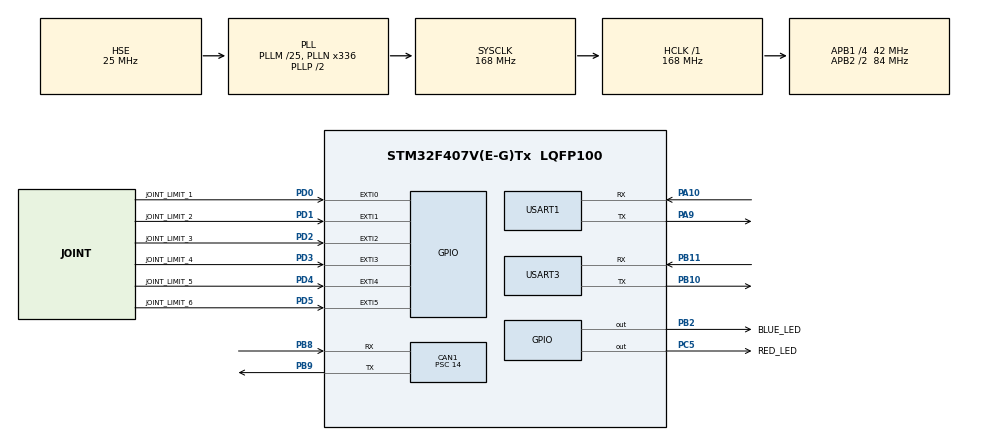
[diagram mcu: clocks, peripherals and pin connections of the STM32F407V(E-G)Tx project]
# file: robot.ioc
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CAN1.ABOM=DISABLE
CAN1.AWUM=ENABLE
CAN1.BS1=CAN_BS1_4TQ
CAN1.BS2=CAN_BS2_1TQ
CAN1.CalculateBaudRate=499999
CAN1.CalculateTimeBit=2000
CAN1.CalculateTimeQuantum=333.33333333333337
CAN1.Mode=CAN_MODE_NORMAL
CAN1.Prescaler=14
Dma.Request0=USART3_RX
Dma.USART3_RX.0.Direction=DMA_PERIPH_TO_MEMORY
Dma.USART3_RX.0.FIFOMode=DMA_FIFOMODE_DISABLE
Dma.USART3_RX.0.Instance=DMA1_Stream1
Dma.USART3_RX.0.MemDataAlignment=DMA_MDATAALIGN_BYTE
Dma.USART3_RX.0.MemInc=DMA_MINC_ENABLE
Dma.USART3_RX.0.Mode=DMA_CIRCULAR
Dma.USART3_RX.0.PeriphDataAlignment=DMA_PDATAALIGN_BYTE
Dma.USART3_RX.0.PeriphInc=DMA_PINC_DISABLE
Dma.USART3_RX.0.Priority=DMA_PRIORITY_HIGH
FREERTOS.Tasks01=defaultTask,24,128,StartDefaultTask,Default,NULL,Dynamic,NULL,NULL
FREERTOS.configENABLE_FPU=1
FREERTOS.configUSE_NEWLIB_REENTRANT=1
Mcu.Family=STM32F4
Mcu.Name=STM32F407V(E-G)Tx
Mcu.Package=LQFP100
NVIC.CAN1_RX0_IRQn=true\:6\:0\:true\:false\:true\:true\:true\:true\:true
NVIC.DMA1_Stream1_IRQn=true\:5\:0\:false\:false\:true\:true\:false\:true\:true
NVIC.EXTI0_IRQn=true\:5\:0\:true\:false\:true\:true\:true\:true\:true
NVIC.EXTI1_IRQn=true\:5\:0\:false\:false\:true\:true\:true\:true\:true
NVIC.EXTI2_IRQn=true\:5\:0\:false\:false\:true\:true\:true\:true\:true
NVIC.EXTI3_IRQn=true\:5\:0\:false\:false\:true\:true\:true\:true\:true
NVIC.EXTI4_IRQn=true\:5\:0\:false\:false\:true\:true\:true\:true\:true
NVIC.EXTI9_5_IRQn=true\:5\:0\:false\:false\:true\:true\:true\:true\:true
NVIC.PriorityGroup=NVIC_PRIORITYGROUP_4
NVIC.TIM6_DAC_IRQn=true\:15\:0\:false\:false\:true\:false\:false\:true\:true
NVIC.TimeBase=TIM6_DAC_IRQn
NVIC.TimeBaseIP=TIM6
NVIC.USART1_IRQn=true\:6\:0\:true\:false\:true\:true\:true\:true\:true
NVIC.USART3_IRQn=true\:6\:0\:true\:false\:true\:true\:true\:true\:true
PA10.Mode=Asynchronous
PA10.Signal=USART1_RX
PA13.Mode=Serial_Wire
PA13.Signal=SYS_JTMS-SWDIO
PA14.Mode=Serial_Wire
PA14.Signal=SYS_JTCK-SWCLK
PA9.Mode=Asynchronous
PA9.Signal=USART1_TX
PB10.Mode=Asynchronous
PB10.Signal=USART3_TX
PB11.Mode=Asynchronous
PB11.Signal=USART3_RX
PB2.GPIO_Label=BLUE_LED
PB2.PinState=GPIO_PIN_RESET
PB2.Signal=GPIO_Output
PB8.Mode=CAN_Activate
PB8.Signal=CAN1_RX
PB9.Mode=CAN_Activate
PB9.Signal=CAN1_TX
PC5.GPIO_Label=RED_LED
PC5.PinState=GPIO_PIN_RESET
PC5.Signal=GPIO_Output
PD0.GPIO_Label=JOINT_LIMIT_1
PD0.GPIO_ModeDefaultEXTI=GPIO_MODE_IT_RISING_FALLING
PD0.GPIO_PuPd=GPIO_PULLUP
PD0.Signal=GPXTI0
PD1.GPIO_Label=JOINT_LIMIT_2
PD1.GPIO_ModeDefaultEXTI=GPIO_MODE_IT_RISING_FALLING
PD1.GPIO_PuPd=GPIO_PULLUP
PD1.Signal=GPXTI1
PD2.GPIO_Label=JOINT_LIMIT_3
PD2.GPIO_ModeDefaultEXTI=GPIO_MODE_IT_RISING_FALLING
PD2.GPIO_PuPd=GPIO_PULLUP
PD2.Signal=GPXTI2
PD3.GPIO_Label=JOINT_LIMIT_4
PD3.GPIO_ModeDefaultEXTI=GPIO_MODE_IT_RISING_FALLING
PD3.GPIO_PuPd=GPIO_PULLUP
PD3.Signal=GPXTI3
PD4.GPIO_Label=JOINT_LIMIT_5
PD4.GPIO_ModeDefaultEXTI=GPIO_MODE_IT_RISING_FALLING
PD4.GPIO_PuPd=GPIO_PULLUP
PD4.Signal=GPXTI4
PD5.GPIO_Label=JOINT_LIMIT_6
PD5.GPIO_ModeDefaultEXTI=GPIO_MODE_IT_RISING_FALLING
PD5.GPIO_PuPd=GPIO_PULLUP
PD5.Signal=GPXTI5
PH0-OSC_IN.Mode=HSE-External-Oscillator
PH0-OSC_IN.Signal=RCC_OSC_IN
PH1-OSC_OUT.Mode=HSE-External-Oscillator
PH1-OSC_OUT.Signal=RCC_OSC_OUT
ProjectManager.HeapSize=0x200
ProjectManager.StackSize=0x400
ProjectManager.TargetToolchain=STM32CubeIDE
RCC.48MHZClocksFreq_Value=48000000
RCC.AHBFreq_Value=168000000
RCC.APB1CLKDivider=RCC_HCLK_DIV4
RCC.APB1Freq_Value=42000000
RCC.APB1TimFreq_Value=84000000
RCC.APB2CLKDivider=RCC_HCLK_DIV2
RCC.APB2Freq_Value=84000000
RCC.APB2TimFreq_Value=168000000
RCC.CortexFreq_Value=168000000
RCC.HCLKFreq_Value=168000000
RCC.HSE_VALUE=25000000
RCC.HSI_VALUE=16000000
RCC.LSE_VALUE=32768
RCC.PLLM=25
RCC.PLLN=336
RCC.PLLQ=7
RCC.PLLSourceVirtual=RCC_PLLSOURCE_HSE
RCC.SYSCLKFreq_VALUE=168000000
RCC.SYSCLKSource=RCC_SYSCLKSOURCE_PLLCLK
RCC.VCOOutputFreq_Value=336000000
USART1.VirtualMode=VM_ASYNC
USART3.VirtualMode=VM_ASYNC
VP_FREERTOS_VS_CMSIS_V2.Mode=CMSIS_V2
VP_RNG_VS_RNG.Mode=RNG_Activate
VP_SYS_VS_tim6.Mode=TIM6
board=custom

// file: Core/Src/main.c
/* USER CODE BEGIN Header */
/**
  ******************************************************************************
  * @file           : main.c
  * @brief          : Main program body
  ******************************************************************************
  * @attention
  *
  * Copyright (c) 2025 STMicroelectronics.
  * All rights reserved.
  *
  * This software is licensed under terms that can be found in the LICENSE file
  * in the root directory of this software component.
  * If no LICENSE file comes with this software, it is provided AS-IS.
  *
  ******************************************************************************
  */
/* USER CODE END Header */
#include "main.h"
#include "cmsis_os.h"
#include "can.h"
#include "dma.h"
#include "rng.h"
#include "usart.h"
#include "gpio.h"

/* USER CODE BEGIN Includes */
#include "stdio.h"
#include "esp8266_mqtt.h"
#include "motor_test.h"  // 测试电机
/* USER CODE END Includes */

void SystemClock_Config(void);
void MX_FREERTOS_Init(void);

int main(void)
{

  /* MCU Configuration--------------------------------------------------------*/

  /* Reset of all peripherals, Initializes the Flash interface and the Systick. */
  HAL_Init();

  /* Configure the system clock */
  SystemClock_Config();

  /* Initialize all configured peripherals */
  MX_GPIO_Init();
  MX_DMA_Init();
  MX_CAN1_Init();
  MX_RNG_Init();
  MX_USART1_UART_Init();
  MX_USART3_UART_Init();
  /* USER CODE BEGIN 2 */
  USER_CAN1_Filter_Init();

  if(HAL_CAN_Start(&hcan1) != HAL_OK) { // 启动CAN控制器
	  Error_Handler();
  }

  if(HAL_CAN_ActivateNotification(&hcan1, CAN_IT_RX_FIFO0_MSG_PENDING) != HAL_OK) { // 使能CAN控制器接收中断
	  Error_Handler();
  }

// ========== 电机测试代码开始 ==========
  char buf[100];

  HAL_UART_Transmit(&huart1, (uint8_t*)"\r\n\r\n", 4, HAL_MAX_DELAY);
  HAL_UART_Transmit(&huart1, (uint8_t*)"========================================\r\n", 42, HAL_MAX_DELAY);
  HAL_UART_Transmit(&huart1, (uint8_t*)"  Motor & Driver Connection Test Start  \r\n", 44, HAL_MAX_DELAY);
  HAL_UART_Transmit(&huart1, (uint8_t*)"========================================\r\n", 42, HAL_MAX_DELAY);

  // 延时，等待系统稳定
  HAL_Delay(500);

  // 测试电机地址1
  uint8_t test_motor_addr = 1;

  sprintf(buf, "\r\nPreparing to test 中文测试motor address: %d\r\n", test_motor_addr);
  HAL_UART_Transmit(&huart1, (uint8_t*)buf, strlen(buf), HAL_MAX_DELAY);
  HAL_Delay(100);

  // 执行完整测试
  int result = Motor_Test_Complete(test_motor_addr);

  if (result == 0) {
      sprintf(buf, "\r\n[PASS] Motor %d - All tests passed!\r\n", test_motor_addr);
      HAL_UART_Transmit(&huart1, (uint8_t*)buf, strlen(buf), HAL_MAX_DELAY);
  } else {
      sprintf(buf, "\r\n[FAIL] Motor %d - %d test(s) failed\r\n", test_motor_addr, result);
      HAL_UART_Transmit(&huart1, (uint8_t*)buf, strlen(buf), HAL_MAX_DELAY);
  }

  HAL_UART_Transmit(&huart1, (uint8_t*)"\r\n========================================\r\n", 44, HAL_MAX_DELAY);
  HAL_UART_Transmit(&huart1, (uint8_t*)"  Test Done, Starting FreeRTOS Scheduler \r\n", 45, HAL_MAX_DELAY);
  HAL_UART_Transmit(&huart1, (uint8_t*)"========================================\r\n\r\n", 46, HAL_MAX_DELAY);

  HAL_Delay(500);
  // ========== 电机测试代码结束 ==========

  /* USER CODE END 2 */

  /* Init scheduler */
  osKernelInitialize();

  /* Call init function for freertos objects (in cmsis_os2.c) */
  MX_FREERTOS_Init();

  /* Start scheduler */
  osKernelStart();

  /* We should never get here as control is now taken by the scheduler */

  /* Infinite loop */
  while (1)
  {
  }
}

void SystemClock_Config(void)
{
  RCC_OscInitTypeDef RCC_OscInitStruct = {0};
  RCC_ClkInitTypeDef RCC_ClkInitStruct = {0};

  /** Configure the main internal regulator output voltage
  */
  __HAL_RCC_PWR_CLK_ENABLE();
  __HAL_PWR_VOLTAGESCALING_CONFIG(PWR_REGULATOR_VOLTAGE_SCALE1);

  /** Initializes the RCC Oscillators according to the specified parameters
  * in the RCC_OscInitTypeDef structure.
  */
  RCC_OscInitStruct.OscillatorType = RCC_OSCILLATORTYPE_HSE;
  RCC_OscInitStruct.HSEState = RCC_HSE_ON;
  RCC_OscInitStruct.PLL.PLLState = RCC_PLL_ON;
  RCC_OscInitStruct.PLL.PLLSource = RCC_PLLSOURCE_HSE;
  RCC_OscInitStruct.PLL.PLLM = 25;
  RCC_OscInitStruct.PLL.PLLN = 336;
  RCC_OscInitStruct.PLL.PLLP = RCC_PLLP_DIV2;
  RCC_OscInitStruct.PLL.PLLQ = 7;
  if (HAL_RCC_OscConfig(&RCC_OscInitStruct) != HAL_OK)
  {
    Error_Handler();
  }

  /** Initializes the CPU, AHB and APB buses clocks
  */
  RCC_ClkInitStruct.ClockType = RCC_CLOCKTYPE_HCLK|RCC_CLOCKTYPE_SYSCLK
                              |RCC_CLOCKTYPE_PCLK1|RCC_CLOCKTYPE_PCLK2;
  RCC_ClkInitStruct.SYSCLKSource = RCC_SYSCLKSOURCE_PLLCLK;
  RCC_ClkInitStruct.AHBCLKDivider = RCC_SYSCLK_DIV1;
  RCC_ClkInitStruct.APB1CLKDivider = RCC_HCLK_DIV4;
  RCC_ClkInitStruct.APB2CLKDivider = RCC_HCLK_DIV2;

  if (HAL_RCC_ClockConfig(&RCC_ClkInitStruct, FLASH_LATENCY_5) != HAL_OK)
  {
    Error_Handler();
  }
}

void HAL_TIM_PeriodElapsedCallback(TIM_HandleTypeDef *htim)
{
  if (htim->Instance == TIM6) {
    HAL_IncTick();
  }
}

void Error_Handler(void)
{
  __disable_irq();
  while (1)
  {
  }
}
